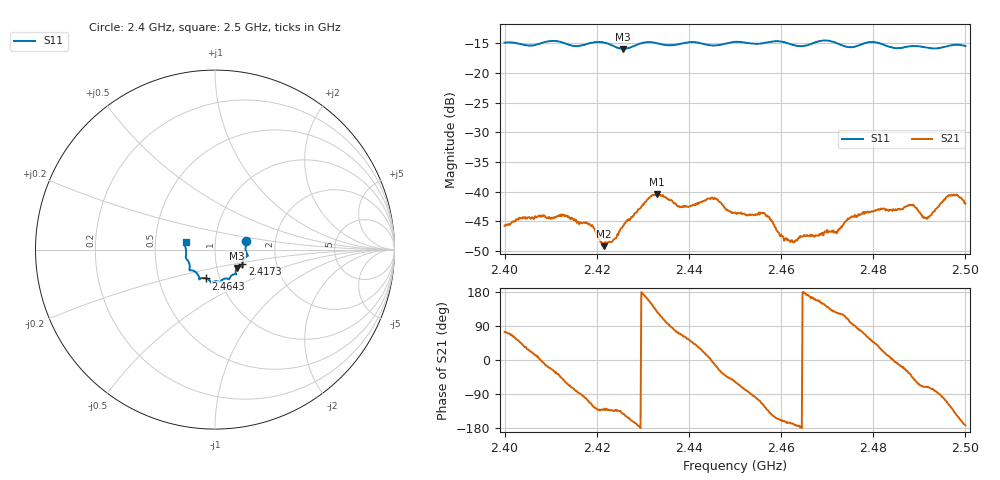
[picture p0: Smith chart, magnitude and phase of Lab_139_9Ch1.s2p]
# Hz S RI R 50
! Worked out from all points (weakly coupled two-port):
!   601 points, 2.4 GHz to 2.5 GHz, reference 50 ohm
!   highest |S21| = -40.41 dB at 2.433 GHz (marker M1); lowest = -49.2 dB at 2.4215 GHz (marker M2)
!   lowest |S11| = -15.9 dB at 2.4257 GHz (marker M3), VSWR 1.38, Z = 62.4 - j13.1 ohm
!   |S11| at or under -10 dB: start of sweep to end of sweep
!   S12 and S22 are empty: the file has one direction only
!   S11 on the Smith chart (normalised r, x): 2.4 GHz: 1.41, +0.14; 2.4173 GHz: 1.34, -0.23; 2.4643 GHz: 0.86, -0.28; 2.5 GHz: 0.72, +0.06
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2.4e9  0.1736 0.0491  0.00141 0.00497  0 0  0 0
2.407833e9  0.1768 -0.0191  0.0063 -0.000158  0 0  0 0
2.416667e9  0.1532 -0.0747  -0.000147 -0.00544  0 0  0 0
2.417333e9  0.1524 -0.0821  -0.000848 -0.00546  0 0  0 0
2.4215e9  0.1534 -0.0956  -0.00224 -0.00265  0 0  0 0
2.425667e9  0.1225 -0.1024  -0.00404 -0.00315  0 0  0 0
2.433e9  0.1147 -0.1367  -0.006 0.00741  0 0  0 0
2.433333e9  0.1129 -0.1364  -0.00522 0.00779  0 0  0 0
2.438167e9  0.0826 -0.1556  0.00269 0.00695  0 0  0 0
2.445333e9  0.0525 -0.1623  0.00858 -0.00115  0 0  0 0
2.45e9  0.0294 -0.1807  0.00365 -0.00559  0 0  0 0
2.456e9  -0.00619 -0.178  -0.00297 -0.00594  0 0  0 0
2.461e9  -0.0261 -0.1785  -0.00389 -0.00109  0 0  0 0
2.464333e9  -0.0499 -0.1607  -0.00416 -0.000295  0 0  0 0
2.466667e9  -0.076 -0.1596  -0.00417 0.00104  0 0  0 0
2.472e9  -0.0877 -0.1561  -0.00262 0.00375  0 0  0 0
2.4755e9  -0.111 -0.1224  -0.000561 0.00617  0 0  0 0
2.483333e9  -0.1408 -0.0901  0.00678 0.0012  0 0  0 0
2.4885e9  -0.1618 -0.0481  0.00534 -0.00549  0 0  0 0
2.4915e9  -0.1614 -0.03  0.00194 -0.00566  0 0  0 0
2.4965e9  -0.1684 0.0228  -0.00461 -0.0081  0 0  0 0
2.5e9  -0.1636 0.0417  -0.00787 -0.00107  0 0  0 0
